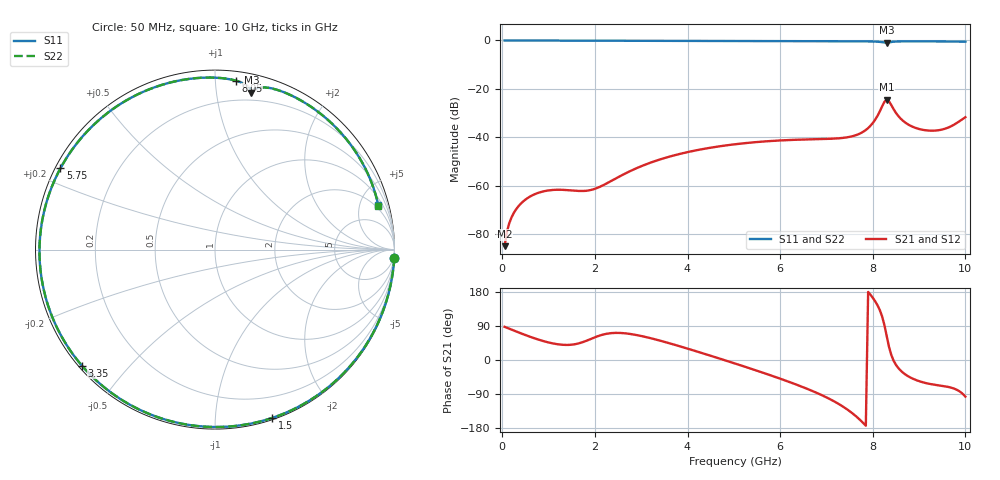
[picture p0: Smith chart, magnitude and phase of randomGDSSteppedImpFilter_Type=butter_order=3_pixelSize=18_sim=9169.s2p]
! freq	dB(S11)	phase(S11)	dB(S12)	phase(S12)
!  dB(S21)	phase(S21)	dB(S22)	phase(S22)
!S-par simulation data
#  GHz  S  DB  R 50
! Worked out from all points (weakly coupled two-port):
!   200 points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, 50 MHz to 10 GHz, reference 50 ohm
!   highest |S21| = -24.48 dB at 8.3 GHz (marker M1); lowest = -85.1 dB at 50 MHz (marker M2)
!   lowest |S11| = -0.9 dB at 8.3 GHz (marker M3), VSWR 18.39, Z = 6.99 + j62.4 ohm
!   |S11| at or under -10 dB: nowhere
!   |S22| runs from -0.9 to 0.0 dB; largest |S21 - S12| = 0
!   S11 on the Smith chart (normalised r, x): 50 MHz: 0, -45; 1.5 GHz: 0.01, -1.40; 3.35 GHz: 0.01, -0.37; 5.75 GHz: 0.01, +0.25; 8.05 GHz: 0.06, +1.13; 10 GHz: 1.59, +7.11
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0.05  -0.00 -2.5  -85.08 87.5  -85.08 87.5  -0.00 -2.5
0.3  -0.02 -15.0  -69.78 75.2  -69.78 75.2  -0.02 -15.0
0.55  -0.04 -27.4  -65.14 63.5  -65.14 63.5  -0.04 -27.3
0.95  -0.06 -46.5  -62.17 47.8  -62.17 47.8  -0.06 -46.5
1.5  -0.08 -71.2  -62.04 40.5  -62.04 40.5  -0.08 -71.1
1.75  -0.09 -81.7  -62.26 47.7  -62.26 47.7  -0.09 -81.6
2.45  -0.12 -108.6  -57.08 71.6  -57.08 71.6  -0.12 -108.6
3.35  -0.14 -138.9  -49.56 53.0  -49.56 53.0  -0.14 -138.9
3.4  -0.14 -140.5  -49.25 51.3  -49.25 51.3  -0.14 -140.5
4.2  -0.17 -164.4  -45.39 22.6  -45.39 22.6  -0.17 -164.4
5.05  -0.21 171.7  -42.87 -10.2  -42.87 -10.2  -0.21 171.6
5.75  -0.24 152.3  -41.65 -38.6  -41.65 -38.6  -0.24 152.2
6.7  -0.28 125.4  -40.88 -82.0  -40.88 -82.0  -0.28 125.3
7.6  -0.34 98.1  -39.40 -144.5  -39.40 -144.5  -0.34 98.0
7.85  -0.37 89.9  -37.03 -173.4  -37.03 -173.4  -0.37 89.8
8.05  -0.46 83.0  -32.83 155.3  -32.83 155.3  -0.46 82.9
8.3  -0.95 77.0  -24.48 63.6  -24.48 63.6  -0.94 76.8
8.35  -0.79 76.7  -25.15 34.9  -25.15 34.9  -0.78 76.4
8.65  -0.38 65.6  -33.18 -33.1  -33.18 -33.1  -0.38 65.4
9.05  -0.37 51.0  -36.85 -57.7  -36.85 -57.7  -0.37 50.8
9.55  -0.41 32.5  -36.57 -69.3  -36.57 -69.3  -0.41 32.2
10  -0.51 15.3  -31.75 -96.6  -31.75 -96.6  -0.51 15.0
